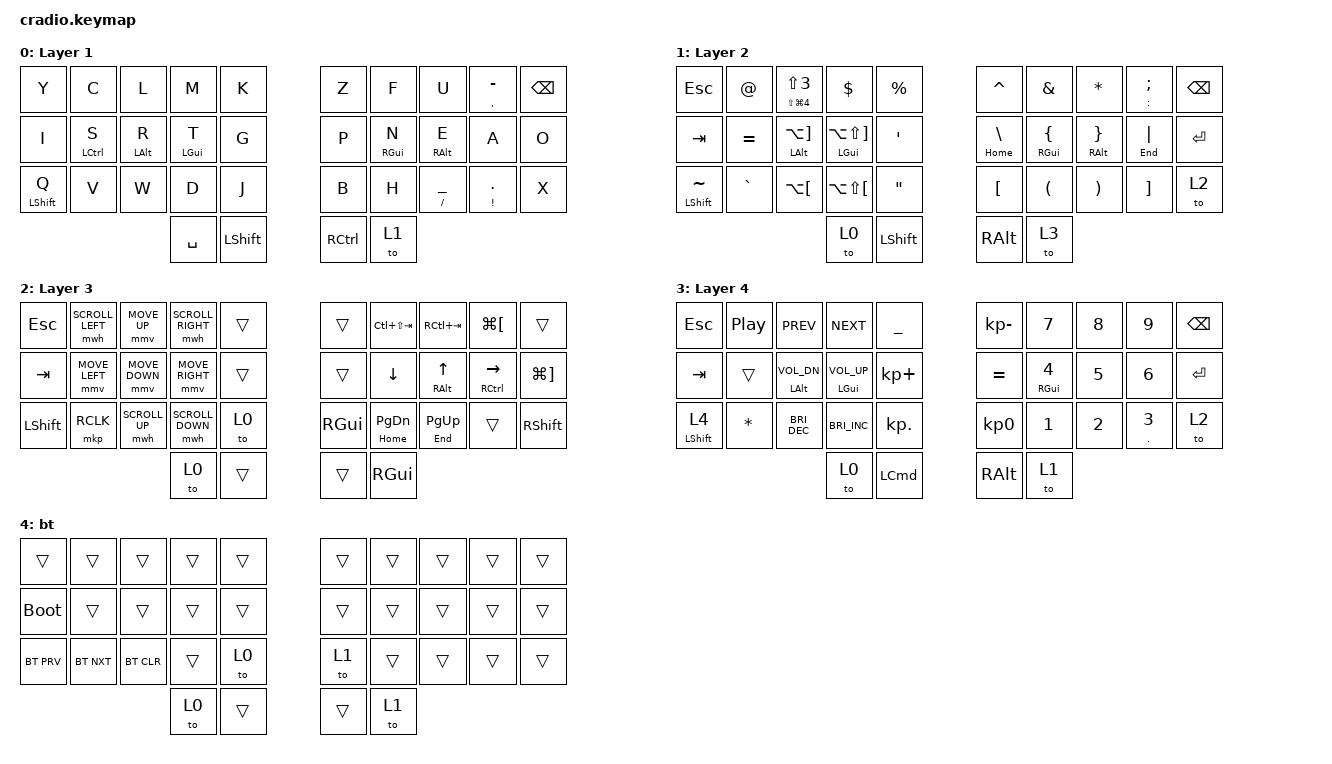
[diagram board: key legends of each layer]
/*
 * Copyright (c) 2020 The ZMK Contributors
 *
 * SPDX-License-Identifier: MIT
 */

#include <behaviors.dtsi>
#include <dt-bindings/zmk/bt.h>
#include <dt-bindings/zmk/keys.h>
#include <dt-bindings/zmk/mouse.h>

&mt {
    flavor = "tap-preferred";
    tapping_term_ms = <200>;
};

/ {
    combos {
        compatible = "zmk,combos";

        combo_esc {
            timeout-ms = <50>;
            key-positions = <21 22>;
            bindings = <&kp ESC>;
        };

        combo_3 {
            timeout-ms = <50>;
            key-positions = <7 8>;
            bindings = <&to 2>;
        };

        combo_ent {
            timeout-ms = <50>;
            key-positions = <27 28>;
            bindings = <&kp RET>;
        };

        combo_1 {
            timeout-ms = <50>;
            key-positions = <30 33>;
            bindings = <&to 1>;
        };

        combo_1_high {
            timeout-ms = <50>;
            key-positions = <24 25>;
            bindings = <&to 1>;
        };

        combo_g {
            timeout-ms = <15>;
            key-positions = <12 13>;
            bindings = <&kp G>;
            layers = <0>;
        };

        combo_j {
            timeout-ms = <50>;
            key-positions = <22 23>;
            bindings = <&kp J>;
            layers = <0>;
        };

        combo_p {
            timeout-ms = <15>;
            key-positions = <16 17>;
            bindings = <&kp P>;
            layers = <0>;
        };

        combo_b {
            timeout-ms = <50>;
            key-positions = <26 27>;
            bindings = <&kp B>;
            layers = <0>;
        };

        combo_scol {
            timeout-ms = <50>;
            key-positions = <8 9>;
            bindings = <&kp SEMI>;
            layers = <0>;
        };

        combo_com {
            timeout-ms = <50>;
            key-positions = <20 21>;
            bindings = <&kp COMMA>;
            layers = <0>;
        };

        combo_minus {
            timeout-ms = <50>;
            key-positions = <0 1>;
            bindings = <&kp MINUS>;
            layers = <0>;
        };

        combo_slsh {
            timeout-ms = <50>;
            key-positions = <28 29>;
            bindings = <&kp SLASH>;
            layers = <0>;
        };

        combo_sqt {
            timeout-ms = <50>;
            key-positions = <12 13>;
            bindings = <&kp SQT>;
            layers = <1>;
        };

        combo_dqt {
            timeout-ms = <50>;
            key-positions = <22 23>;
            bindings = <&kp DQT>;
            layers = <1>;
        };

        combo_bslh {
            timeout-ms = <50>;
            key-positions = <16 17>;
            bindings = <&kp BSLH>;
            layers = <1>;
        };

        combo_lbkt {
            timeout-ms = <50>;
            key-positions = <26 27>;
            bindings = <&kp LBKT>;
            layers = <1>;
        };

        combo_n0 {
            timeout-ms = <50>;
            key-positions = <26 27>;
            bindings = <&kp N0>;
            layers = <3>;
        };

        combo_lalt {
            timeout-ms = <50>;
            key-positions = <12 13>;
            bindings = <&kp LALT>;
            layers = <2>;
        };

        combo_del {
            timeout-ms = <50>;
            key-positions = <22 23>;
            bindings = <&kp DEL>;
            layers = <2>;
        };

        combo_left {
            timeout-ms = <50>;
            key-positions = <16 17>;
            bindings = <&kp LEFT>;
            layers = <2>;
        };

        combo_lclk {
            timeout-ms = <50>;
            key-positions = <26 27>;
            bindings = <&mkp LCLK>;
            layers = <2>;
        };
    };

    behaviors {
        hm: homerow_mods {
            compatible = "zmk,behavior-hold-tap";
            label = "HOMEROW_MODS";
            #binding-cells = <2>;
            tapping-term-ms = <200>;
            quick_tap_ms = <0>;
            flavor = "tap-preferred";
            bindings = <&kp>, <&kp>;
        };

        hs: homerow_shifts {
            compatible = "zmk,behavior-hold-tap";
            label = "HOMEROW_SHIFTS";
            #binding-cells = <2>;
            tapping-term-ms = <150>;
            quick_tap_ms = <0>;
            flavor = "balanced";
            bindings = <&kp>, <&kp>;
        };

        hsl: homerow_shifts_layer {
            compatible = "zmk,behavior-hold-tap";
            label = "HOMEROW_SHIFTS_LAYER";
            #binding-cells = <2>;
            tapping-term-ms = <150>;
            quick_tap_ms = <0>;
            flavor = "balanced";
            bindings = <&kp>, <&to>;
        };

        td: tapdance {
            compatible = "zmk,behavior-hold-tap";
            label = "TAPDANCE";
            #binding-cells = <2>;
            tapping-term-ms = <150>;
            quick_tap_ms = <0>;
            flavor = "tap-preferred";
            bindings = <&kp>, <&kp>;
        };

        bl: layertap {
            compatible = "zmk,behavior-hold-tap";
            label = "LAYERTAP";
            #binding-cells = <2>;
            tapping-term-ms = <150>;
            quick_tap_ms = <0>;
            flavor = "tap-preferred";
            bindings = <&to>, <&kp>;
        };
    };

    keymap {
        compatible = "zmk,keymap";

        default_layer {
            bindings = <
&kp Y         &kp C       &kp L       &kp M       &kp K             &kp Z              &kp F       &kp U                 &mt COMMA MINUS  &kp BACKSPACE
&kp I         &hm LCTL S  &hm LALT R  &hm LGUI T  &kp G             &kp P              &hm RGUI N  &hm RALT E            &kp A            &kp O
&hs LSHIFT Q  &kp V       &kp W       &kp D       &kp J             &kp B              &kp H       &td SLASH UNDERSCORE  &mt EXCL DOT     &kp X
                                      &kp SPACE   &kp LEFT_SHIFT    &kp RIGHT_CONTROL  &to 1
            >;

            label = "Layer 1";
        };

        layer_1 {
            bindings = <
&kp ESCAPE        &kp AT_SIGN  &mt LS(LG(NUMBER_4)) LS(NUMBER_3)  &kp DLLR               &kp PERCENT          &kp CARET           &kp AMPS              &kp STAR               &mt COLON SEMICOLON  &kp BACKSPACE
&kp TAB           &kp EQUAL    &hm LALT LA(RBKT)                  &hm LGUI LA(LS(RBKT))  &kp SINGLE_QUOTE     &mt HOME BACKSLASH  &hm RGUI LBRC         &hm RALT RBRC          &hm END PIPE         &kp ENTER
&hs LSHIFT TILDE  &kp GRAVE    &kp LA(LBKT)                       &kp LA(LS(LBKT))       &kp DOUBLE_QUOTES    &kp LEFT_BRACKET    &kp LEFT_PARENTHESIS  &kp RIGHT_PARENTHESIS  &kp RBKT             &to 2
                                                                  &to 0                  &kp LEFT_SHIFT       &kp RIGHT_ALT       &to 3
            >;

            label = "Layer 2";
        };

        layer_2 {
            bindings = <
&kp ESCAPE  &mwh SCROLL_LEFT  &mmv MOVE_UP    &mwh SCROLL_RIGHT  &trans    &trans    &kp LC(LS(TAB))  &kp RC(TAB)    &kp LG(LBKT)    &trans
&kp TAB     &mmv MOVE_LEFT    &mmv MOVE_DOWN  &mmv MOVE_RIGHT    &trans    &trans    &kp DOWN         &hm RALT UP    &hm RCTL RIGHT  &kp LG(RBKT)
&kp LSHIFT  &mkp RCLK         &mwh SCROLL_UP  &mwh SCROLL_DOWN   &to 0     &kp RGUI  &td HOME PG_DN   &td END PG_UP  &trans          &kp RSHIFT
                                              &to 0              &trans    &trans    &kp RGUI
            >;

            label = "Layer 3";
        };

        layer_3 {
            bindings = <
&kp ESCAPE     &kp C_PP  &kp C_PREV            &kp C_NEXT            &kp UNDERSCORE      &kp KP_MINUS     &kp N7       &kp N8  &kp N9      &kp BACKSPACE
&kp TAB        &trans    &hm LALT C_VOL_DN     &hm LGUI C_VOL_UP     &kp KP_PLUS         &kp EQUAL        &hm RGUI N4  &kp N5  &kp N6      &kp ENTER
&hsl LSHIFT 4  &kp STAR  &kp C_BRIGHTNESS_DEC  &kp C_BRIGHTNESS_INC  &kp KP_DOT          &kp KP_NUMBER_0  &kp N1       &kp N2  &td DOT N3  &to 2
                                               &to 0                 &kp LEFT_COMMAND    &kp RIGHT_ALT    &to 1
            >;

            label = "Layer 4";
        };

        bt {
            bindings = <
&trans       &trans      &trans      &trans  &trans    &trans  &trans  &trans  &trans  &trans
&bootloader  &trans      &trans      &trans  &trans    &trans  &trans  &trans  &trans  &trans
&bt BT_PRV   &bt BT_NXT  &bt BT_CLR  &trans  &to 0     &to 1   &trans  &trans  &trans  &trans
                                     &to 0   &trans    &trans  &to 1
            >;
        };
    };
};
